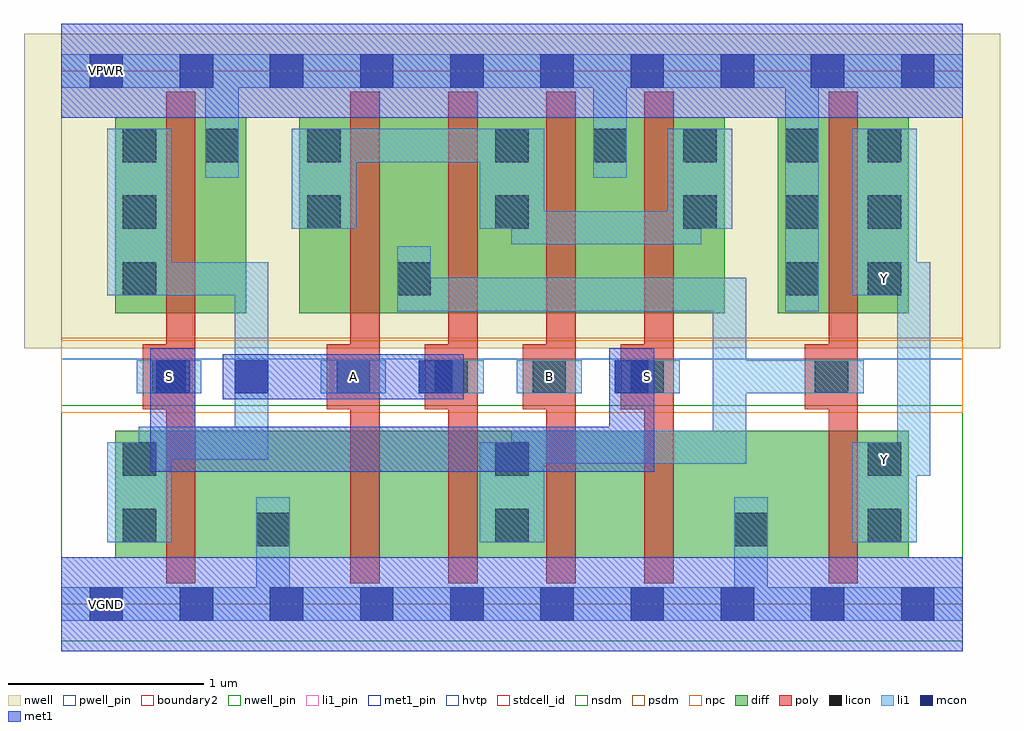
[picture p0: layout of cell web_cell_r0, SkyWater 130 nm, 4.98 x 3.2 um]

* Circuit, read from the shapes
.subckt web_cell_r0 A B S VGND VNB VPB VPWR Y
XM1 VGND S n1 VNB sky130_fd_pr__nfet_01v8 w=0.65 l=0.15
XM2 n2 A VGND VNB sky130_fd_pr__nfet_01v8 w=0.65 l=0.15
XM3 n3 n1 n2 VNB sky130_fd_pr__nfet_01v8 w=0.65 l=0.15
XM4 n4 B n3 VNB sky130_fd_pr__nfet_01v8 w=0.65 l=0.15
XM5 VGND S n4 VNB sky130_fd_pr__nfet_01v8 w=0.65 l=0.15
XM6 Y n3 VGND VNB sky130_fd_pr__nfet_01v8 w=0.65 l=0.15
XM7 VPWR S n1 VPB sky130_fd_pr__pfet_01v8_hvt w=1 l=0.15
XM8 n3 A n5 VPB sky130_fd_pr__pfet_01v8_hvt w=1 l=0.15
XM9 n5 n1 n3 VPB sky130_fd_pr__pfet_01v8_hvt w=1 l=0.15
XM10 VPWR B n5 VPB sky130_fd_pr__pfet_01v8_hvt w=1 l=0.15
XM11 n5 S VPWR VPB sky130_fd_pr__pfet_01v8_hvt w=1 l=0.15
XM12 Y n3 VPWR VPB sky130_fd_pr__pfet_01v8_hvt w=1 l=0.15
.ends

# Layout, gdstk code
import gdstk
lib = gdstk.Library(unit=1e-6, precision=1e-09)
def R(c, l, rs):  # rectangles x0, y0, x1, y1
    for r in rs: c.add(gdstk.rectangle(r[:2], r[2:], *l))
def A(c, l, x, y, w, h, nx, ny, dx, dy):  # array of equal rectangles
    R(c, l, [(x+i*dx, y+j*dy, x+i*dx+w, y+j*dy+h) for i in range(nx) for j in range(ny)])
nwell_pin = (64, 16)
nwell = (64, 20)
diff = (65, 20)
poly = (66, 20)
licon = (66, 44)
li1_pin = (67, 16)
li1 = (67, 20)
mcon = (67, 44)
met1_pin = (68, 16)
met1 = (68, 20)
hvtp = (78, 44)
stdcell_id = (81, 4)
nsdm = (93, 44)
psdm = (94, 20)
npc = (95, 20)
pwell_pin = (122, 16)
boundary2 = (236, 0)

web_cell_r0 = lib.new_cell('web_cell_r0')
R(web_cell_r0, nwell_pin, [(0.145,2.635,0.315,2.805)])
R(web_cell_r0, nwell, [(-0.19,1.305,4.79,2.91)])
R(web_cell_r0, diff, [(0.275,0.235,1.08,0.885), (1.08,0.235,1.8,0.885), (1.8,0.235,2.3,0.885), (2.3,0.235,2.8,0.885), (2.8,0.235,3.52,0.885), (3.52,0.235,4.325,0.885), (0.275,1.485,0.945,2.485), (1.215,1.485,1.8,2.485), (1.8,1.485,2.3,2.485), (2.3,1.485,2.8,2.485), (2.8,1.485,3.385,2.485), (3.655,1.485,4.325,2.485)])
A(web_cell_r0, poly, 1.475, 0.105, 0.15, 2.51, 4, 1, 0.5, 0)
A(web_cell_r0, poly, 1.355, 0.995, 0.27, 0.33, 4, 1, 0.5, 0)
R(web_cell_r0, poly, [(0.535,0.105,0.685,2.615), (3.915,0.105,4.065,2.615), (0.415,0.995,0.685,1.325), (3.795,0.995,4.065,1.325)])
A(web_cell_r0, licon, 0.315, 0.315, 0.17, 0.17, 3, 2, 1.9, 0.34)
A(web_cell_r0, licon, 1.405, 1.075, 0.17, 0.17, 4, 1, 0.5, 0)
A(web_cell_r0, licon, 0.315, 1.575, 0.17, 0.17, 1, 3, 0, 0.34)
A(web_cell_r0, licon, 3.695, 1.575, 0.17, 0.17, 1, 3, 0, 0.34)
A(web_cell_r0, licon, 4.115, 1.575, 0.17, 0.17, 1, 3, 0, 0.34)
A(web_cell_r0, licon, 1.255, 1.915, 0.17, 0.17, 3, 1, 0.96, 0)
R(web_cell_r0, licon, [(0.995,0.295,1.165,0.465), (3.435,0.295,3.605,0.465), (0.465,1.075,0.635,1.245), (3.845,1.075,4.015,1.245), (1.715,1.575,1.885,1.745), (0.735,2.255,0.905,2.425), (1.255,2.255,1.425,2.425), (2.215,2.255,2.385,2.425), (2.715,2.255,2.885,2.425), (3.175,2.255,3.345,2.425)])
R(web_cell_r0, li1_pin, [(4.115,0.655,4.285,0.825), (0.465,1.075,0.635,1.245), (1.405,1.075,1.575,1.245), (2.405,1.075,2.575,1.245), (2.905,1.075,3.075,1.245), (4.115,1.575,4.285,1.745)])
A(web_cell_r0, li1, 0.235, 0.315, 0.33, 0.51, 3, 1, 1.9, 0)
A(web_cell_r0, li1, 0.235, 0.655, 0.33, 0.17, 3, 1, 1.9, 0)
A(web_cell_r0, li1, 1.325, 1.075, 0.33, 0.17, 4, 1, 0.5, 0)
A(web_cell_r0, li1, 1.175, 1.915, 0.33, 0.51, 3, 1, 0.96, 0)
A(web_cell_r0, li1, 1.175, 2.255, 0.33, 0.17, 3, 1, 0.96, 0)
R(web_cell_r0, li1, [(0,-0.085,4.6,0.085), (0.995,-0.085,1.165,0.545), (3.435,-0.085,3.605,0.545), (0.395,0.655,0.565,0.905), (2.295,0.655,2.465,0.885), (4.195,0.655,4.435,0.825), (4.265,0.655,4.435,1.745), (2.295,0.715,3.495,0.885), (3.325,0.715,3.495,1.245), (0.395,0.735,1.055,0.905), (0.885,0.735,1.055,1.745), (0.385,1.075,0.715,1.245), (3.325,1.075,3.935,1.245), (3.325,1.075,3.495,1.665), (3.765,1.075,4.095,1.245), (1.715,1.495,1.885,1.825), (1.715,1.495,3.495,1.665), (3.695,1.495,3.865,2.085), (0.235,1.575,0.565,1.745), (0.235,1.575,0.565,2.085), (0.395,1.575,1.055,1.745), (4.035,1.575,4.365,1.745), (4.035,1.575,4.365,2.085), (4.195,1.575,4.435,1.745), (2.295,1.835,2.465,2.425), (2.295,1.835,3.265,2.005), (3.095,1.835,3.265,2.425), (3.695,1.835,3.865,2.425), (0.235,1.915,0.565,2.425), (4.035,1.915,4.365,2.425), (3.695,2.085,3.865,2.175), (3.695,2.085,3.865,2.175), (3.695,2.085,3.865,2.175), (3.695,2.085,3.865,2.175), (0.735,2.175,0.905,2.805), (2.715,2.175,2.885,2.805), (3.695,2.175,3.865,2.805), (1.335,2.255,2.305,2.425), (0,2.635,4.6,2.805)])
A(web_cell_r0, mcon, 0.145, -0.085, 0.17, 0.17, 10, 2, 0.46, 2.72)
R(web_cell_r0, mcon, [(0.485,1.075,0.655,1.245), (0.885,1.075,1.055,1.245), (1.825,1.075,1.995,1.245), (2.825,1.075,2.995,1.245)])
R(web_cell_r0, met1_pin, [(0.145,-0.085,0.315,0.085), (0.145,2.635,0.315,2.805)])
R(web_cell_r0, met1, [(0,-0.24,4.6,0.24), (0.455,0.675,0.685,1.275), (0.455,0.675,3.025,0.905), (2.795,0.675,3.025,1.275), (0.455,0.905,0.685,1.015), (0.455,0.905,0.685,1.015), (0.455,0.905,0.685,1.015), (0.455,0.905,0.685,1.015), (2.795,0.905,3.025,1.015), (2.795,0.905,3.025,1.015), (2.795,0.905,3.025,1.015), (2.795,0.905,3.025,1.015), (0.455,1.015,0.685,1.305), (2.795,1.015,3.025,1.305), (0.825,1.045,1.115,1.275), (0.855,1.045,2.025,1.275), (1.765,1.045,2.055,1.275), (0,2.48,4.6,2.96)])
R(web_cell_r0, hvtp, [(0,1.25,4.6,2.72)])
R(web_cell_r0, stdcell_id, [(0,0,4.6,2.72)])
R(web_cell_r0, nsdm, [(0,-0.19,4.6,1.015)])
R(web_cell_r0, psdm, [(0,1.355,4.6,2.91)])
R(web_cell_r0, npc, [(0,0.975,4.6,1.345)])
R(web_cell_r0, pwell_pin, [(0.145,-0.085,0.315,0.085)])
R(web_cell_r0, boundary2, [(0,0,4.6,2.72)])
web_cell_r0.add(gdstk.Label('A', (1.49,1.16), layer=67, texttype=5))
web_cell_r0.add(gdstk.Label('B', (2.49,1.16), layer=67, texttype=5))
web_cell_r0.add(gdstk.Label('S', (0.55,1.16), layer=67, texttype=5))
web_cell_r0.add(gdstk.Label('S', (2.99,1.16), layer=67, texttype=5))
web_cell_r0.add(gdstk.Label('Y', (4.2,0.74), layer=67, texttype=5))
web_cell_r0.add(gdstk.Label('Y', (4.2,1.66), layer=67, texttype=5))
web_cell_r0.add(gdstk.Label('VGND', (0.23,0), layer=68, texttype=5))
web_cell_r0.add(gdstk.Label('VPWR', (0.23,2.72), layer=68, texttype=5))
web_cell_r0.add(gdstk.Label('VPB', (0.23,2.72), layer=64, texttype=5))
web_cell_r0.add(gdstk.Label('VNB', (0.23,0), layer=64, texttype=59))

lib.write_gds('web_cell_r0.gds')
